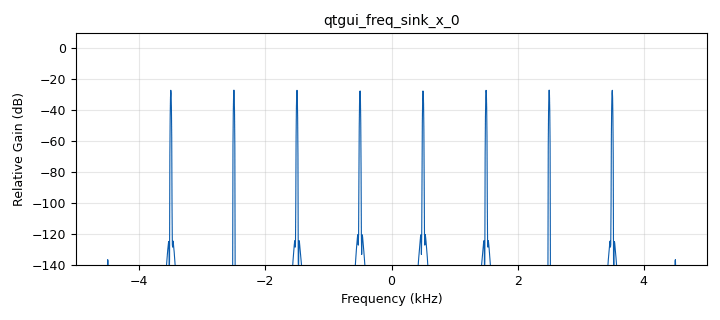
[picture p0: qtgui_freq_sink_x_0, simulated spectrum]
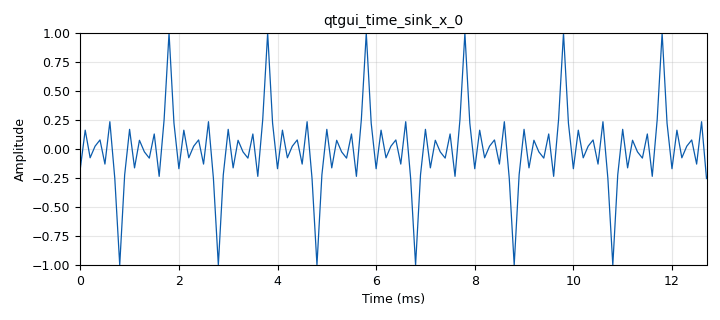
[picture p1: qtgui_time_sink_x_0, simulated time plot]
options:
  parameters:
    author: Alfonso Sanchez y Sergio Angarita
    copyright: '2022'
    generate_options: qt_gui
    id: punto3
    output_language: python
    title: Punto 3
  states: {}

blocks:
- name: frec_a
  id: variable_qtgui_range
  parameters:
    start: '0'
    step: '1000'
    stop: '30000000'
    value: '59000'
  states: {}
- name: frec_b
  id: variable_qtgui_range
  parameters:
    start: '0'
    step: '1000'
    stop: '30000000'
    value: '738000'
  states: {}
- name: frec_c
  id: variable_qtgui_range
  parameters:
    start: '0'
    step: '1000'
    stop: '3000000'
    value: '29500'
  states: {}
- name: samp_rate
  id: variable_qtgui_range
  parameters:
    label: Frecuencia de muestreo
    start: '1000'
    step: '1000'
    stop: '80000000'
    value: '10000'
  states: {}
- name: analog_sig_source_x_0
  id: analog_sig_source_x
  parameters:
    amp: '1'
    freq: frec_a
    offset: '0'
    phase: '0'
    samp_rate: samp_rate
    type: float
    waveform: analog.GR_COS_WAVE
  states: {}
- name: analog_sig_source_x_0_0
  id: analog_sig_source_x
  parameters:
    amp: '1'
    freq: frec_c
    offset: '0'
    phase: '0'
    samp_rate: samp_rate
    type: float
    waveform: analog.GR_COS_WAVE
  states: {}
- name: analog_sig_source_x_0_1
  id: analog_sig_source_x
  parameters:
    amp: '1'
    freq: frec_b
    offset: '0'
    phase: '0'
    samp_rate: samp_rate
    type: float
    waveform: analog.GR_COS_WAVE
  states: {}
- name: blocks_multiply_xx_0
  id: blocks_multiply_xx
  parameters:
    num_inputs: '3'
    type: float
  states: {}
- name: blocks_throttle_0
  id: blocks_throttle
  parameters:
    samples_per_second: samp_rate
    type: float
  states: {}
- name: qtgui_freq_sink_x_0
  id: qtgui_freq_sink_x
  parameters:
    bw: samp_rate
    fc: '0'
    fftsize: '2048'
    type: float
  states: {}
- name: qtgui_time_sink_x_0
  id: qtgui_time_sink_x
  parameters:
    size: '128'
    srate: samp_rate
    type: float
  states: {}

connections:
- [analog_sig_source_x_0, '0', blocks_multiply_xx_0, '0']
- [analog_sig_source_x_0_0, '0', blocks_multiply_xx_0, '2']
- [analog_sig_source_x_0_1, '0', blocks_multiply_xx_0, '1']
- [blocks_multiply_xx_0, '0', blocks_throttle_0, '0']
- [blocks_throttle_0, '0', qtgui_freq_sink_x_0, '0']
- [blocks_throttle_0, '0', qtgui_time_sink_x_0, '0']

metadata:
  file_format: 1
